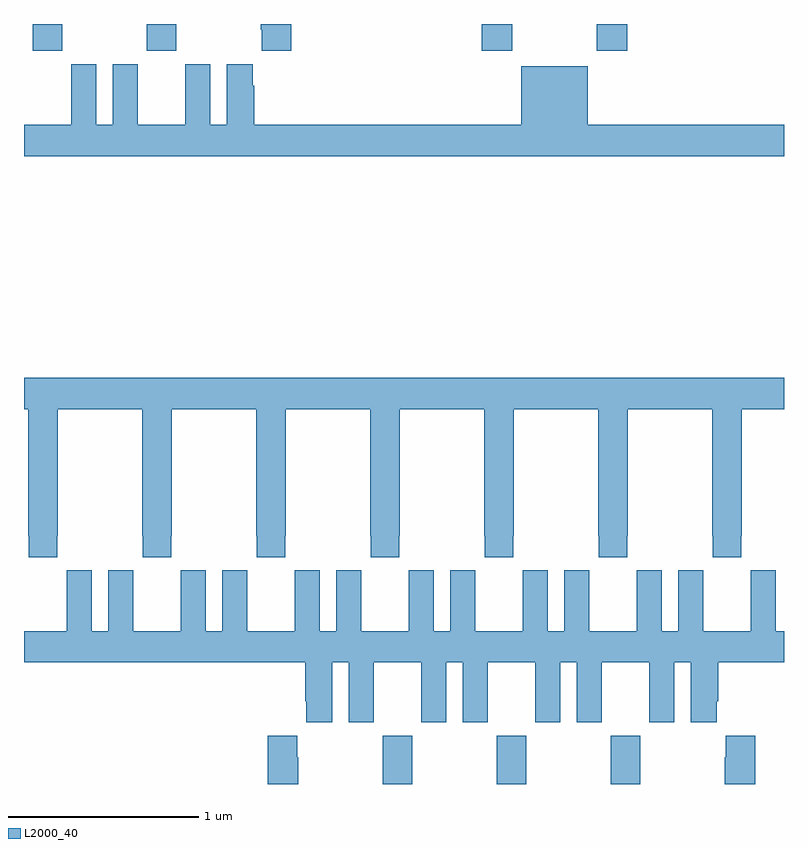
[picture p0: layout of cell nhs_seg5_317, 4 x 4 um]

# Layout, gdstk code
import gdstk
lib = gdstk.Library(unit=1e-6, precision=1e-09)
def R(c, l, rs):  # rectangles x0, y0, x1, y1
    for r in rs: c.add(gdstk.rectangle(r[:2], r[2:], *l))
def A(c, l, x, y, w, h, nx, ny, dx, dy):  # array of equal rectangles
    R(c, l, [(x+i*dx, y+j*dy, x+i*dx+w, y+j*dy+h) for i in range(nx) for j in range(ny)])
def P(c, l, *ps):  # polygons
    for p in ps: c.add(gdstk.Polygon(p, *l))
L2000_40 = (2000, 40)

nhs_seg5_317 = lib.new_cell('nhs_seg5_317')
A(nhs_seg5_317, L2000_40, 132.889, 842.799, 0.155, 0.253, 3, 1, 0.6, 0)
R(nhs_seg5_317, L2000_40, [(131.047,846.657,131.202,846.799), (131.647,846.657,131.802,846.799), (133.409,846.657,133.569,846.799), (134.014,846.657,134.174,846.799)])
P(nhs_seg5_317, L2000_40, [(132.407,846.799),(132.247,846.799),(132.247,846.769),(132.251,846.769),(132.251,846.657),(132.407,846.657)],
  [(135,846.268),(133.966,846.268),(133.966,846.577),(133.616,846.577),(133.616,846.268),(132.212,846.268),(132.212,846.473),(132.205,846.473),(132.205,846.586),(132.068,846.586),(132.068,846.268),(131.98,846.268),(131.98,846.586),(131.849,846.586),(131.849,846.268),(131.599,846.268),(131.599,846.586),(131.468,846.586),(131.468,846.268),(131.38,846.268),(131.38,846.586),(131.249,846.586),(131.249,846.268),(131,846.268),(131,846.104),(135,846.104)],
  [(131.175,844.105),(131.178,844.105),(131.178,844.772),(131.623,844.772),(131.623,844.105),(131.625,844.105),(131.625,843.993),(131.775,843.993),(131.775,844.105),(131.778,844.105),(131.778,844.772),(132.223,844.772),(132.223,844.105),(132.225,844.105),(132.225,843.993),(132.375,843.993),(132.375,844.105),(132.378,844.105),(132.378,844.772),(132.823,844.772),(132.823,844.105),(132.825,844.105),(132.825,843.993),(132.975,843.993),(132.975,844.105),(132.978,844.105),(132.978,844.772),(133.423,844.772),(133.423,844.105),(133.425,844.105),(133.425,843.993),(133.575,843.993),(133.575,844.105),(133.578,844.105),(133.578,844.772),(134.023,844.772),(134.023,844.105),(134.025,844.105),(134.025,843.993),(134.175,843.993),(134.175,844.105),(134.178,844.105),(134.178,844.772),(134.623,844.772),(134.623,844.105),(134.625,844.105),(134.625,843.993),(134.775,843.993),(134.775,844.105),(134.778,844.105),(134.778,844.772),(135,844.772),(135,844.936),(131,844.936),(131,844.772),(131.023,844.772),(131.023,844.105),(131.025,844.105),(131.025,843.993),(131.175,843.993)],
  [(133.844,843.925),(133.844,843.604),(133.756,843.604),(133.756,843.925),(133.626,843.925),(133.626,843.812),(133.625,843.812),(133.625,843.604),(133.375,843.604),(133.375,843.812),(133.374,843.812),(133.374,843.925),(133.244,843.925),(133.244,843.604),(133.156,843.604),(133.156,843.925),(133.026,843.925),(133.026,843.812),(133.025,843.812),(133.025,843.604),(132.775,843.604),(132.775,843.812),(132.774,843.812),(132.774,843.925),(132.644,843.925),(132.644,843.604),(132.556,843.604),(132.556,843.925),(132.426,843.925),(132.426,843.812),(132.425,843.812),(132.425,843.604),(132.175,843.604),(132.175,843.812),(132.174,843.812),(132.174,843.925),(132.044,843.925),(132.044,843.604),(131.956,843.604),(131.956,843.925),(131.826,843.925),(131.826,843.812),(131.825,843.812),(131.825,843.604),(131.575,843.604),(131.575,843.812),(131.574,843.812),(131.574,843.925),(131.444,843.925),(131.444,843.604),(131.356,843.604),(131.356,843.925),(131.226,843.925),(131.226,843.812),(131.225,843.812),(131.225,843.604),(131,843.604),(131,843.44),(132.479,843.44),(132.479,843.235),(132.485,843.235),(132.485,843.123),(132.622,843.123),(132.622,843.44),(132.71,843.44),(132.71,843.123),(132.841,843.123),(132.841,843.44),(133.091,843.44),(133.091,843.123),(133.222,843.123),(133.222,843.44),(133.31,843.44),(133.31,843.123),(133.441,843.123),(133.441,843.44),(133.691,843.44),(133.691,843.123),(133.822,843.123),(133.822,843.44),(133.91,843.44),(133.91,843.123),(134.041,843.123),(134.041,843.44),(134.291,843.44),(134.291,843.123),(134.422,843.123),(134.422,843.44),(134.51,843.44),(134.51,843.123),(134.647,843.123),(134.647,843.235),(134.654,843.235),(134.654,843.44),(135,843.44),(135,843.604),(134.956,843.604),(134.956,843.925),(134.826,843.925),(134.826,843.812),(134.825,843.812),(134.825,843.604),(134.575,843.604),(134.575,843.812),(134.574,843.812),(134.574,843.925),(134.444,843.925),(134.444,843.604),(134.356,843.604),(134.356,843.925),(134.226,843.925),(134.226,843.812),(134.225,843.812),(134.225,843.604),(133.975,843.604),(133.975,843.812),(133.974,843.812),(133.974,843.925)],
  [(134.849,843.052),(134.693,843.052),(134.693,842.939),(134.689,842.939),(134.689,842.799),(134.849,842.799)],
  [(132.444,842.939),(132.439,842.939),(132.439,843.052),(132.284,843.052),(132.284,842.799),(132.444,842.799)])

lib.write_gds('nhs_seg5_317.gds')
